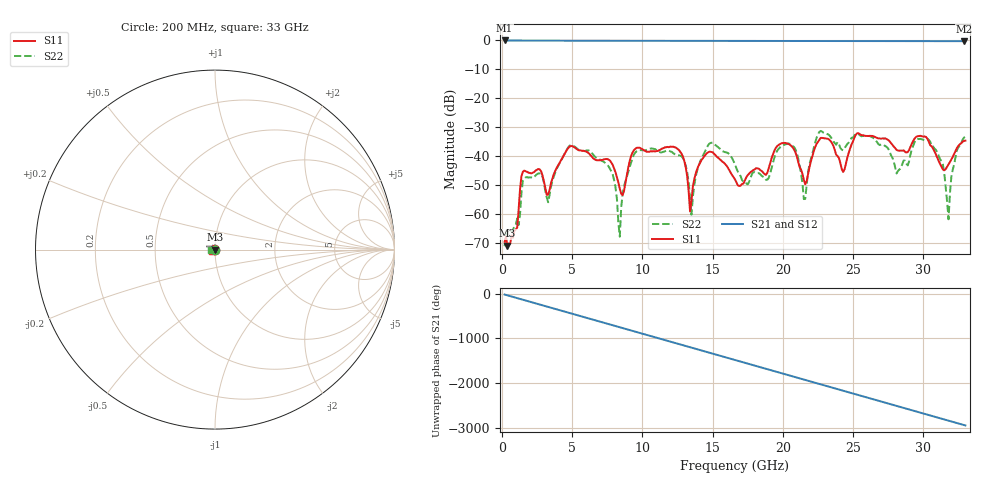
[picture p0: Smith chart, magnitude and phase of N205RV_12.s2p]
# GHZ S RI R 50
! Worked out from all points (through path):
!   329 points, 200 MHz to 33 GHz, reference 50 ohm
!   highest |S21| = -0.02 dB at 200 MHz (marker M1); lowest = -0.3 dB at 32.9 GHz (marker M2)
!   group delay of S21, straight-line fit = 248 ps
!   lowest |S11| = -71.1 dB at 400 MHz (marker M3), VSWR 1.00, Z = 50 - j0.000342 ohm
!   |S11| at or under -10 dB: start of sweep to end of sweep
!   |S22| runs from -71.2 to -31.3 dB; largest |S21 - S12| = 0.0019
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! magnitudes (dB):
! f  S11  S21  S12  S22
! 200 MHz  -69.8  0.0  0.0  -71.2
! 400 MHz  -71.1  0.0  0.0  -66.1
! 1.5 GHz  -45.5  -0.1  -0.1  -48.5
! 3.3 GHz  -53.4  -0.1  -0.1  -56.0
! 5.7 GHz  -38.2  -0.1  -0.1  -38.2
! 7.8 GHz  -42.3  -0.1  -0.1  -45.4
! 8.4 GHz  -51.4  -0.1  -0.1  -67.9
! 9.4 GHz  -38.0  -0.1  -0.1  -39.6
! 11.2 GHz  -38.0  -0.1  -0.1  -38.6
! 12.9 GHz  -40.3  -0.2  -0.2  -40.8
! 13.5 GHz  -55.6  -0.2  -0.2  -60.4
! 14.7 GHz  -38.7  -0.2  -0.2  -36.2
! 16.6 GHz  -48.1  -0.2  -0.2  -42.9
! 20.5 GHz  -36.1  -0.2  -0.2  -35.8
! 21.5 GHz  -48.2  -0.2  -0.2  -54.9
! 22.1 GHz  -40.2  -0.2  -0.2  -39.3
! 27.6 GHz  -34.9  -0.2  -0.2  -38.4
! 30.4 GHz  -35.1  -0.2  -0.2  -34.5
! 31.4 GHz  -44.7  -0.3  -0.3  -43.0
! 31.8 GHz  -42.9  -0.3  -0.3  -61.9
! 32.9 GHz  -34.8  -0.3  -0.3  -33.6
! 33 GHz  -34.7  -0.3  -0.3  -33.4
